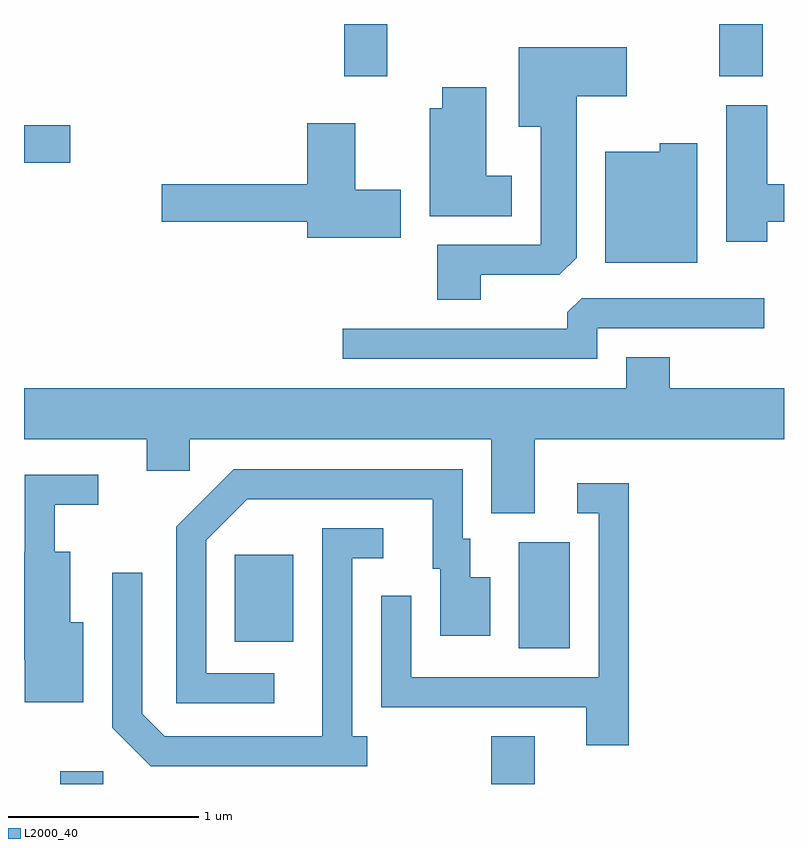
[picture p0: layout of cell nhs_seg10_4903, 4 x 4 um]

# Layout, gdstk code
import gdstk
lib = gdstk.Library(unit=1e-6, precision=1e-09)
def R(c, l, rs):  # rectangles x0, y0, x1, y1
    for r in rs: c.add(gdstk.rectangle(r[:2], r[2:], *l))
def P(c, l, *ps):  # polygons
    for p in ps: c.add(gdstk.Polygon(p, *l))
L2000_40 = (2000, 40)

nhs_seg10_4903 = lib.new_cell('nhs_seg10_4903')
R(nhs_seg10_4903, L2000_40, [(329.801,2136.522,330.029,2136.589), (332.071,2136.522,332.299,2136.774), (332.216,2137.236,332.484,2137.794), (330.721,2137.271,331.029,2137.729), (329.611,2139.791,329.854,2139.989), (331.296,2140.246,331.524,2140.522), (333.271,2140.246,333.499,2140.522)])
P(nhs_seg10_4903, L2000_40, [(332.014,2139.201),(332.429,2139.201),(332.519,2139.292),(332.519,2140.141),(332.784,2140.141),(332.784,2140.399),(332.216,2140.399),(332.216,2139.981),(332.331,2139.981),(332.331,2139.359),(331.786,2139.359),(331.786,2139.071),(332.014,2139.071)],
  [(332.179,2139.724),(332.044,2139.724),(332.044,2140.189),(331.811,2140.189),(331.811,2140.079),(331.746,2140.079),(331.746,2139.511),(332.179,2139.511)],
  [(333.524,2139.481),(333.611,2139.481),(333.611,2139.679),(333.524,2139.679),(333.524,2140.094),(333.306,2140.094),(333.306,2139.376),(333.524,2139.376)],
  [(331.594,2139.649),(331.354,2139.649),(331.354,2139.999),(331.101,2139.999),(331.101,2139.679),(330.336,2139.679),(330.336,2139.481),(331.101,2139.481),(331.101,2139.396),(331.594,2139.396)],
  [(333.154,2139.894),(332.956,2139.894),(332.956,2139.849),(332.671,2139.849),(332.671,2139.266),(333.154,2139.266)],
  [(332.629,2138.921),(333.508,2138.921),(333.508,2139.079),(332.547,2139.079),(332.471,2139.004),(332.471,2138.919),(331.288,2138.919),(331.288,2138.761),(332.629,2138.761)],
  [(332.299,2138.336),(333.611,2138.336),(333.611,2138.604),(333.009,2138.604),(333.009,2138.769),(332.781,2138.769),(332.781,2138.604),(329.611,2138.604),(329.611,2138.336),(330.256,2138.336),(330.256,2138.171),(330.484,2138.171),(330.484,2138.336),(332.071,2138.336),(332.071,2137.946),(332.299,2137.946)],
  [(330.928,2137.104),(330.569,2137.104),(330.569,2137.804),(330.787,2138.021),(331.761,2138.021),(331.761,2137.656),(331.801,2137.656),(331.801,2137.301),(332.064,2137.301),(332.064,2137.609),(331.959,2137.609),(331.959,2137.814),(331.919,2137.814),(331.919,2138.179),(330.714,2138.179),(330.411,2137.877),(330.411,2136.946),(330.928,2136.946)],
  [(329.924,2137.374),(329.854,2137.374),(329.854,2137.744),(329.774,2137.744),(329.774,2137.991),(330.003,2137.991),(330.003,2138.149),(329.616,2138.149),(329.616,2137.744),(329.611,2137.744),(329.611,2137.176),(329.616,2137.176),(329.616,2136.951),(329.924,2136.951)],
  [(332.794,2138.104),(332.523,2138.104),(332.523,2137.946),(332.636,2137.946),(332.636,2137.084),(331.649,2137.084),(331.649,2137.513),(331.491,2137.513),(331.491,2136.926),(332.571,2136.926),(332.571,2136.726),(332.794,2136.726)],
  [(331.418,2136.774),(331.339,2136.774),(331.339,2137.711),(331.503,2137.711),(331.503,2137.869),(331.181,2137.869),(331.181,2136.774),(330.352,2136.774),(330.234,2136.892),(330.234,2137.633),(330.076,2137.633),(330.076,2136.819),(330.279,2136.616),(331.418,2136.616)])

lib.write_gds('nhs_seg10_4903.gds')
